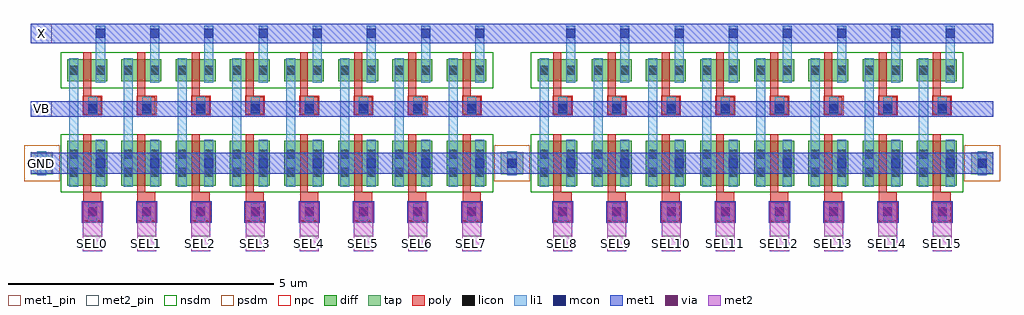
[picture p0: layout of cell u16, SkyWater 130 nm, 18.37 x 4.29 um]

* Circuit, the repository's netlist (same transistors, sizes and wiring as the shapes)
* NGSPICE file created from u16.ext - technology: sky130A

.subckt u16 SEL0 SEL1 SEL2 SEL3 SEL4 SEL5 SEL6 SEL7 SEL8 SEL9 SEL10 SEL11 SEL12 SEL13
+ SEL14 SEL15 X VB GND
X0 GND SEL9 a_2112_n392# GND sky130_fd_pr__nfet_01v8 ad=0.252 pd=2.28 as=0.252 ps=2.28 w=0.84 l=0.15
X1 X VB a_2928_n392# GND sky130_fd_pr__nfet_01v8 ad=0.126 pd=1.44 as=0.126 ps=1.44 w=0.42 l=0.15
X2 X VB a_342_n392# GND sky130_fd_pr__nfet_01v8 ad=0.126 pd=1.44 as=0.126 ps=1.44 w=0.42 l=0.15
X3 GND SEL5 a_1158_n392# GND sky130_fd_pr__nfet_01v8 ad=0.252 pd=2.28 as=0.252 ps=2.28 w=0.84 l=0.15
X4 GND SEL3 a_750_n392# GND sky130_fd_pr__nfet_01v8 ad=0.252 pd=2.28 as=0.252 ps=2.28 w=0.84 l=0.15
X5 X VB a_954_n392# GND sky130_fd_pr__nfet_01v8 ad=0.126 pd=1.44 as=0.126 ps=1.44 w=0.42 l=0.15
X6 X VB a_3132_n392# GND sky130_fd_pr__nfet_01v8 ad=0.126 pd=1.44 as=0.126 ps=1.44 w=0.42 l=0.15
X7 X VB a_546_n392# GND sky130_fd_pr__nfet_01v8 ad=0.126 pd=1.44 as=0.126 ps=1.44 w=0.42 l=0.15
X8 GND SEL13 a_2928_n392# GND sky130_fd_pr__nfet_01v8 ad=0.252 pd=2.28 as=0.252 ps=2.28 w=0.84 l=0.15
X9 GND SEL11 a_2520_n392# GND sky130_fd_pr__nfet_01v8 ad=0.252 pd=2.28 as=0.252 ps=2.28 w=0.84 l=0.15
X10 X VB a_1158_n392# GND sky130_fd_pr__nfet_01v8 ad=0.126 pd=1.44 as=0.126 ps=1.44 w=0.42 l=0.15
X11 X VB a_3336_n392# GND sky130_fd_pr__nfet_01v8 ad=0.126 pd=1.44 as=0.126 ps=1.44 w=0.42 l=0.15
X12 GND SEL14 a_3132_n392# GND sky130_fd_pr__nfet_01v8 ad=0.252 pd=2.28 as=0.252 ps=2.28 w=0.84 l=0.15
X13 GND SEL7 a_1566_n392# GND sky130_fd_pr__nfet_01v8 ad=0.252 pd=2.28 as=0.252 ps=2.28 w=0.84 l=0.15
X14 X VB a_1908_n392# GND sky130_fd_pr__nfet_01v8 ad=0.126 pd=1.44 as=0.126 ps=1.44 w=0.42 l=0.15
X15 X VB a_138_n392# GND sky130_fd_pr__nfet_01v8 ad=0.126 pd=1.44 as=0.126 ps=1.44 w=0.42 l=0.15
X16 X VB a_750_n392# GND sky130_fd_pr__nfet_01v8 ad=0.126 pd=1.44 as=0.126 ps=1.44 w=0.42 l=0.15
X17 GND SEL0 a_138_n392# GND sky130_fd_pr__nfet_01v8 ad=0.252 pd=2.28 as=0.252 ps=2.28 w=0.84 l=0.15
X18 GND SEL2 a_546_n392# GND sky130_fd_pr__nfet_01v8 ad=0.252 pd=2.28 as=0.252 ps=2.28 w=0.84 l=0.15
X19 X VB a_1362_n392# GND sky130_fd_pr__nfet_01v8 ad=0.126 pd=1.44 as=0.126 ps=1.44 w=0.42 l=0.15
X20 GND SEL10 a_2316_n392# GND sky130_fd_pr__nfet_01v8 ad=0.252 pd=2.28 as=0.252 ps=2.28 w=0.84 l=0.15
X21 X VB a_2112_n392# GND sky130_fd_pr__nfet_01v8 ad=0.126 pd=1.44 as=0.126 ps=1.44 w=0.42 l=0.15
X22 X VB a_1566_n392# GND sky130_fd_pr__nfet_01v8 ad=0.126 pd=1.44 as=0.126 ps=1.44 w=0.42 l=0.15
X23 GND SEL4 a_954_n392# GND sky130_fd_pr__nfet_01v8 ad=0.252 pd=2.28 as=0.252 ps=2.28 w=0.84 l=0.15
X24 X VB a_2316_n392# GND sky130_fd_pr__nfet_01v8 ad=0.126 pd=1.44 as=0.126 ps=1.44 w=0.42 l=0.15
X25 GND SEL12 a_2724_n392# GND sky130_fd_pr__nfet_01v8 ad=0.252 pd=2.28 as=0.252 ps=2.28 w=0.84 l=0.15
X26 X VB a_2520_n392# GND sky130_fd_pr__nfet_01v8 ad=0.126 pd=1.44 as=0.126 ps=1.44 w=0.42 l=0.15
X27 GND SEL15 a_3336_n392# GND sky130_fd_pr__nfet_01v8 ad=0.252 pd=2.28 as=0.252 ps=2.28 w=0.84 l=0.15
X28 GND SEL6 a_1362_n392# GND sky130_fd_pr__nfet_01v8 ad=0.252 pd=2.28 as=0.252 ps=2.28 w=0.84 l=0.15
X29 GND SEL1 a_342_n392# GND sky130_fd_pr__nfet_01v8 ad=0.252 pd=2.28 as=0.252 ps=2.28 w=0.84 l=0.15
X30 GND SEL8 a_1908_n392# GND sky130_fd_pr__nfet_01v8 ad=0.252 pd=2.28 as=0.252 ps=2.28 w=0.84 l=0.15
X31 X VB a_2724_n392# GND sky130_fd_pr__nfet_01v8 ad=0.126 pd=1.44 as=0.126 ps=1.44 w=0.42 l=0.15
.ends

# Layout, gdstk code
import gdstk
lib = gdstk.Library(unit=1e-6, precision=1e-09)
def R(c, l, rs):  # rectangles x0, y0, x1, y1
    for r in rs: c.add(gdstk.rectangle(r[:2], r[2:], *l))
def A(c, l, x, y, w, h, nx, ny, dx, dy):  # array of equal rectangles
    R(c, l, [(x+i*dx, y+j*dy, x+i*dx+w, y+j*dy+h) for i in range(nx) for j in range(ny)])
diff = (65, 20)
tap = (65, 44)
poly = (66, 20)
licon = (66, 44)
li1 = (67, 20)
mcon = (67, 44)
met1_pin = (68, 16)
met1 = (68, 20)
via = (68, 44)
met2_pin = (69, 16)
met2 = (69, 20)
nsdm = (93, 44)
psdm = (94, 20)
npc = (95, 20)

u16 = lib.new_cell('u16')
A(u16, diff, 0.69, -1.96, 0.75, 0.84, 8, 1, 1.02, 0)
A(u16, diff, 9.54, -1.96, 0.75, 0.84, 8, 1, 1.02, 0)
A(u16, diff, 0.69, 0, 0.75, 0.42, 8, 1, 1.02, 0)
A(u16, diff, 9.54, 0, 0.75, 0.42, 8, 1, 1.02, 0)
A(u16, tap, 0, -1.75, 0.42, 0.42, 3, 1, 8.85, 0)
A(u16, poly, 0.99, -2.62, 0.34, 0.53, 8, 1, 1.02, 0)
A(u16, poly, 9.84, -2.62, 0.34, 0.53, 8, 1, 1.02, 0)
A(u16, poly, 0.99, -2.09, 0.15, 1.1, 8, 1, 1.02, 0)
A(u16, poly, 9.84, -2.09, 0.15, 1.1, 8, 1, 1.02, 0)
A(u16, poly, 0.99, -0.62, 0.34, 0.33, 8, 1, 1.02, 0)
A(u16, poly, 9.84, -0.62, 0.34, 0.33, 8, 1, 1.02, 0)
A(u16, poly, 0.99, -0.29, 0.15, 0.84, 8, 1, 1.02, 0)
A(u16, poly, 9.84, -0.29, 0.15, 0.84, 8, 1, 1.02, 0)
A(u16, licon, 1.08, -2.54, 0.17, 0.17, 8, 2, 1.02, 2)
A(u16, licon, 9.93, -2.54, 0.17, 0.17, 8, 2, 1.02, 2)
A(u16, licon, 0.125, -1.625, 0.17, 0.17, 3, 1, 8.85, 0)
R(u16, licon, [(0.73,-1.795,0.9,-1.625), (1.23,-1.795,1.4,-1.625), (1.75,-1.795,1.92,-1.625), (2.25,-1.795,2.42,-1.625), (2.77,-1.795,2.94,-1.625), (3.27,-1.795,3.44,-1.625), (3.79,-1.795,3.96,-1.625), (4.29,-1.795,4.46,-1.625), (4.81,-1.795,4.98,-1.625), (5.31,-1.795,5.48,-1.625), (5.83,-1.795,6,-1.625), (6.33,-1.795,6.5,-1.625), (6.85,-1.795,7.02,-1.625), (7.35,-1.795,7.52,-1.625), (7.87,-1.795,8.04,-1.625), (8.37,-1.795,8.54,-1.625), (9.58,-1.795,9.75,-1.625), (10.08,-1.795,10.25,-1.625), (10.6,-1.795,10.77,-1.625), (11.1,-1.795,11.27,-1.625), (11.62,-1.795,11.79,-1.625), (12.12,-1.795,12.29,-1.625), (12.64,-1.795,12.81,-1.625), (13.14,-1.795,13.31,-1.625), (13.66,-1.795,13.83,-1.625), (14.16,-1.795,14.33,-1.625), (14.68,-1.795,14.85,-1.625), (15.18,-1.795,15.35,-1.625), (15.7,-1.795,15.87,-1.625), (16.2,-1.795,16.37,-1.625), (16.72,-1.795,16.89,-1.625), (17.22,-1.795,17.39,-1.625), (0.73,-1.455,0.9,-1.285), (1.23,-1.455,1.4,-1.285), (1.75,-1.455,1.92,-1.285), (2.25,-1.455,2.42,-1.285), (2.77,-1.455,2.94,-1.285), (3.27,-1.455,3.44,-1.285), (3.79,-1.455,3.96,-1.285), (4.29,-1.455,4.46,-1.285), (4.81,-1.455,4.98,-1.285), (5.31,-1.455,5.48,-1.285), (5.83,-1.455,6,-1.285), (6.33,-1.455,6.5,-1.285), (6.85,-1.455,7.02,-1.285), (7.35,-1.455,7.52,-1.285), (7.87,-1.455,8.04,-1.285), (8.37,-1.455,8.54,-1.285), (9.58,-1.455,9.75,-1.285), (10.08,-1.455,10.25,-1.285), (10.6,-1.455,10.77,-1.285), (11.1,-1.455,11.27,-1.285), (11.62,-1.455,11.79,-1.285), (12.12,-1.455,12.29,-1.285), (12.64,-1.455,12.81,-1.285), (13.14,-1.455,13.31,-1.285), (13.66,-1.455,13.83,-1.285), (14.16,-1.455,14.33,-1.285), (14.68,-1.455,14.85,-1.285), (15.18,-1.455,15.35,-1.285), (15.7,-1.455,15.87,-1.285), (16.2,-1.455,16.37,-1.285), (16.72,-1.455,16.89,-1.285), (17.22,-1.455,17.39,-1.285), (0.73,0.125,0.9,0.295), (1.23,0.125,1.4,0.295), (1.75,0.125,1.92,0.295), (2.25,0.125,2.42,0.295), (2.77,0.125,2.94,0.295), (3.27,0.125,3.44,0.295), (3.79,0.125,3.96,0.295), (4.29,0.125,4.46,0.295), (4.81,0.125,4.98,0.295), (5.31,0.125,5.48,0.295), (5.83,0.125,6,0.295), (6.33,0.125,6.5,0.295), (6.85,0.125,7.02,0.295), (7.35,0.125,7.52,0.295), (7.87,0.125,8.04,0.295), (8.37,0.125,8.54,0.295), (9.58,0.125,9.75,0.295), (10.08,0.125,10.25,0.295), (10.6,0.125,10.77,0.295), (11.1,0.125,11.27,0.295), (11.62,0.125,11.79,0.295), (12.12,0.125,12.29,0.295), (12.64,0.125,12.81,0.295), (13.14,0.125,13.31,0.295), (13.66,0.125,13.83,0.295), (14.16,0.125,14.33,0.295), (14.68,0.125,14.85,0.295), (15.18,0.125,15.35,0.295), (15.7,0.125,15.87,0.295), (16.2,0.125,16.37,0.295), (16.72,0.125,16.89,0.295), (17.22,0.125,17.39,0.295)])
A(u16, li1, 1.08, -2.62, 0.17, 0.33, 8, 2, 1.02, 2)
A(u16, li1, 9.93, -2.62, 0.17, 0.33, 8, 2, 1.02, 2)
A(u16, li1, 0.73, -1.98, 0.17, 2.42, 8, 1, 1.02, 0)
A(u16, li1, 1.23, -1.98, 0.17, 0.88, 8, 1, 1.02, 0)
A(u16, li1, 9.58, -1.98, 0.17, 2.42, 8, 1, 1.02, 0)
A(u16, li1, 10.08, -1.98, 0.17, 0.88, 8, 1, 1.02, 0)
A(u16, li1, 0.125, -1.77, 0.17, 0.46, 3, 1, 8.85, 0)
A(u16, li1, 1.23, -0.02, 0.17, 1.07, 8, 1, 1.02, 0)
A(u16, li1, 10.08, -0.02, 0.17, 1.07, 8, 1, 1.02, 0)
A(u16, mcon, 1.08, -2.54, 0.17, 0.17, 8, 2, 1.02, 1.94)
A(u16, mcon, 9.93, -2.54, 0.17, 0.17, 8, 2, 1.02, 1.94)
A(u16, mcon, 1.23, -1.625, 0.17, 0.17, 8, 2, 1.02, 2.445)
A(u16, mcon, 10.08, -1.625, 0.17, 0.17, 8, 2, 1.02, 2.445)
R(u16, mcon, [(0.125,-1.625,0.295,-1.455), (8.975,-1.625,9.145,-1.455), (17.825,-1.625,17.995,-1.455)])
R(u16, met1_pin, [(0,-1.74,0.4,-1.34), (0,-0.66,0.4,-0.37), (0,0.72,0.4,1.09)])
A(u16, met1, 0.965, -2.655, 0.4, 0.4, 8, 1, 1.02, 0)
A(u16, met1, 9.815, -2.655, 0.4, 0.4, 8, 1, 1.02, 0)
R(u16, met1, [(0,-1.74,18.12,-1.34), (0,-0.66,18.12,-0.37), (0,0.72,18.12,1.09)])
A(u16, via, 1.09, -2.53, 0.15, 0.15, 8, 1, 1.02, 0)
A(u16, via, 9.94, -2.53, 0.15, 0.15, 8, 1, 1.02, 0)
A(u16, met2_pin, 0.985, -3.2, 0.36, 0.3, 8, 1, 1.02, 0)
A(u16, met2_pin, 9.835, -3.2, 0.36, 0.3, 8, 1, 1.02, 0)
A(u16, met2, 0.985, -3.2, 0.36, 0.925, 8, 1, 1.02, 0)
A(u16, met2, 9.835, -3.2, 0.36, 0.925, 8, 1, 1.02, 0)
R(u16, nsdm, [(0.565,-2.085,8.705,-0.995), (9.415,-2.085,17.555,-0.995), (0.565,-0.125,8.705,0.545), (9.415,-0.125,17.555,0.545)])
A(u16, psdm, -0.125, -1.875, 0.67, 0.67, 3, 1, 8.85, 0)
A(u16, npc, 0.98, -2.64, 0.37, 0.37, 8, 2, 1.02, 2)
A(u16, npc, 9.83, -2.64, 0.37, 0.37, 8, 2, 1.02, 2)
u16.add(gdstk.Label('SEL0', (1.165,-3.05), layer=69, texttype=5))
u16.add(gdstk.Label('SEL1', (2.185,-3.05), layer=69, texttype=5))
u16.add(gdstk.Label('SEL2', (3.205,-3.05), layer=69, texttype=5))
u16.add(gdstk.Label('SEL3', (4.225,-3.05), layer=69, texttype=5))
u16.add(gdstk.Label('SEL4', (5.245,-3.05), layer=69, texttype=5))
u16.add(gdstk.Label('SEL5', (6.265,-3.05), layer=69, texttype=5))
u16.add(gdstk.Label('SEL6', (7.285,-3.05), layer=69, texttype=5))
u16.add(gdstk.Label('SEL7', (8.305,-3.05), layer=69, texttype=5))
u16.add(gdstk.Label('SEL8', (10.015,-3.05), layer=69, texttype=5))
u16.add(gdstk.Label('SEL9', (11.035,-3.05), layer=69, texttype=5))
u16.add(gdstk.Label('SEL10', (12.055,-3.05), layer=69, texttype=5))
u16.add(gdstk.Label('SEL11', (13.075,-3.05), layer=69, texttype=5))
u16.add(gdstk.Label('SEL12', (14.095,-3.05), layer=69, texttype=5))
u16.add(gdstk.Label('SEL13', (15.115,-3.05), layer=69, texttype=5))
u16.add(gdstk.Label('SEL14', (16.135,-3.05), layer=69, texttype=5))
u16.add(gdstk.Label('SEL15', (17.155,-3.05), layer=69, texttype=5))
u16.add(gdstk.Label('X', (0.2,0.905), layer=68, texttype=5))
u16.add(gdstk.Label('VB', (0.2,-0.515), layer=68, texttype=5))
u16.add(gdstk.Label('GND', (0.2,-1.54), layer=68, texttype=5))

lib.write_gds('u16.gds')
